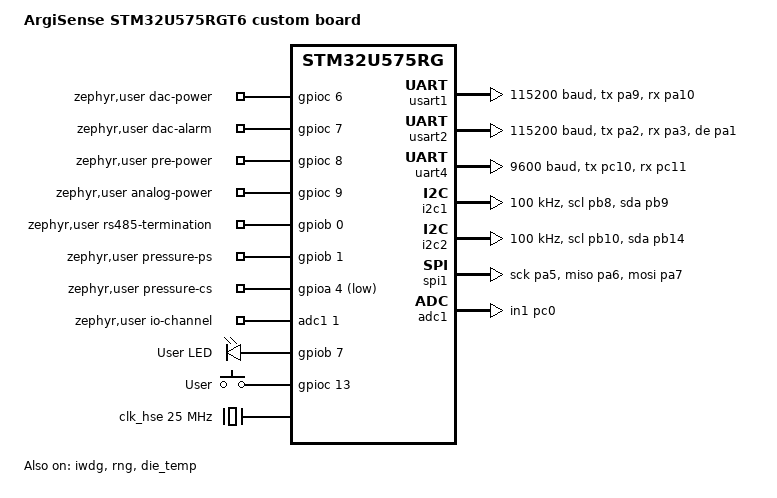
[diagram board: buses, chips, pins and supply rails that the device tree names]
/*
 * SPDX-License-Identifier: Apache-2.0
 */

/dts-v1/;

#include <st/u5/stm32u575Xg.dtsi>
#include <st/u5/stm32u575rgtx-pinctrl.dtsi>
#include <zephyr/dt-bindings/input/input-event-codes.h>

/ {
	model = "ArgiSense STM32U575RGT6 custom board";
	compatible = "argisense,stm32u575rg";

	#address-cells = <1>;
	#size-cells = <1>;

	chosen {
		zephyr,console = &usart1;
		zephyr,shell-uart = &usart1;
		zephyr,sram = &sram0;
		zephyr,flash = &flash0;
		zephyr,code-partition = &slot0_partition;
	};

	aliases {
		led0 = &blue_led;
		sw0 = &user_button;
		i2c-0 = &i2c1;
		i2c-1 = &i2c2;
		spi-0 = &spi1;
		rs485-uart = &usart2;
		methane-uart = &uart4;
		thermistor-adc = &adc1;
		watchdog0 = &iwdg;
		die-temp0 = &die_temp;
	};

	zephyr,user {
		dac-power-gpios = <&gpioc 6 GPIO_ACTIVE_HIGH>;
		dac-alarm-gpios = <&gpioc 7 GPIO_ACTIVE_HIGH>;
		pre-power-gpios = <&gpioc 8 GPIO_ACTIVE_HIGH>;
		analog-power-gpios = <&gpioc 9 GPIO_ACTIVE_HIGH>;
		rs485-termination-gpios = <&gpiob 0 GPIO_ACTIVE_HIGH>;
		pressure-ps-gpios = <&gpiob 1 GPIO_ACTIVE_HIGH>;
		pressure-cs-gpios = <&gpioa 4 GPIO_ACTIVE_LOW>;
		io-channels = <&adc1 1>;
	};

	leds {
		compatible = "gpio-leds";

		blue_led: led_0 {
			gpios = <&gpiob 7 GPIO_ACTIVE_HIGH>;
			label = "User LED";
		};
	};

	gpio_keys {
		compatible = "gpio-keys";

		user_button: button_0 {
			label = "User";
			gpios = <&gpioc 13 (GPIO_ACTIVE_HIGH | GPIO_PULL_DOWN)>;
			zephyr,code = <INPUT_KEY_0>;
		};
	};
};

&flash0 {
	partitions {
		compatible = "fixed-partitions";
		#address-cells = <1>;
		#size-cells = <1>;

		/*
		 * STM32U575RGT6 has 1024 KiB of flash.
		 * Layout keeps MCUboot-ready slots while leaving room for storage.
		 */
		boot_partition: partition@0 {
			label = "mcuboot";
			reg = <0x00000000 DT_SIZE_K(64)>;
		};

		slot0_partition: partition@10000 {
			label = "image-0";
			reg = <0x00010000 DT_SIZE_K(448)>;
		};

		slot1_partition: partition@80000 {
			label = "image-1";
			reg = <0x00080000 DT_SIZE_K(448)>;
		};

		storage_partition: partition@f0000 {
			label = "storage";
			reg = <0x000f0000 DT_SIZE_K(64)>;
		};
	};
};

&clk_hse {
	status = "okay";
	clock-frequency = <DT_FREQ_M(25)>;
};

&pll1 {
	div-m = <5>;
	mul-n = <64>;
	div-q = <2>;
	div-r = <2>;
	clocks = <&clk_hse>;
	status = "okay";
};

&rcc {
	clocks = <&pll1>;
	clock-frequency = <DT_FREQ_M(160)>;
	ahb-prescaler = <1>;
	apb1-prescaler = <1>;
	apb2-prescaler = <1>;
	apb3-prescaler = <1>;
};

&usart1 {
	pinctrl-0 = <&usart1_tx_pa9 &usart1_rx_pa10>;
	pinctrl-names = "default";
	current-speed = <115200>;
	status = "okay";
};

&usart2 {
	pinctrl-0 = <&usart2_tx_pa2 &usart2_rx_pa3 &usart2_de_pa1>;
	pinctrl-names = "default";
	current-speed = <115200>;
	de-enable;
	status = "okay";
};

&uart4 {
	pinctrl-0 = <&uart4_tx_pc10 &uart4_rx_pc11>;
	pinctrl-names = "default";
	current-speed = <9600>;
	status = "okay";
};

&i2c1 {
	pinctrl-0 = <&i2c1_scl_pb8 &i2c1_sda_pb9>;
	pinctrl-names = "default";
	clock-frequency = <I2C_BITRATE_STANDARD>;
	status = "okay";
};

&i2c2 {
	pinctrl-0 = <&i2c2_scl_pb10 &i2c2_sda_pb14>;
	pinctrl-names = "default";
	clock-frequency = <I2C_BITRATE_STANDARD>;
	status = "okay";
};

&spi1 {
	pinctrl-0 = <&spi1_sck_pa5 &spi1_miso_pa6 &spi1_mosi_pa7>;
	pinctrl-names = "default";
	cs-gpios = <&gpioa 4 GPIO_ACTIVE_LOW>;
	status = "okay";
};

&adc1 {
	pinctrl-0 = <&adc1_in1_pc0>;
	pinctrl-names = "default";
	st,adc-clock-source = "ASYNC";
	st,adc-prescaler = <4>;
	vref-mv = <3300>;
	status = "okay";
};

&iwdg {
	status = "okay";
};

&rng {
	status = "okay";
};

&die_temp {
	status = "okay";
};
